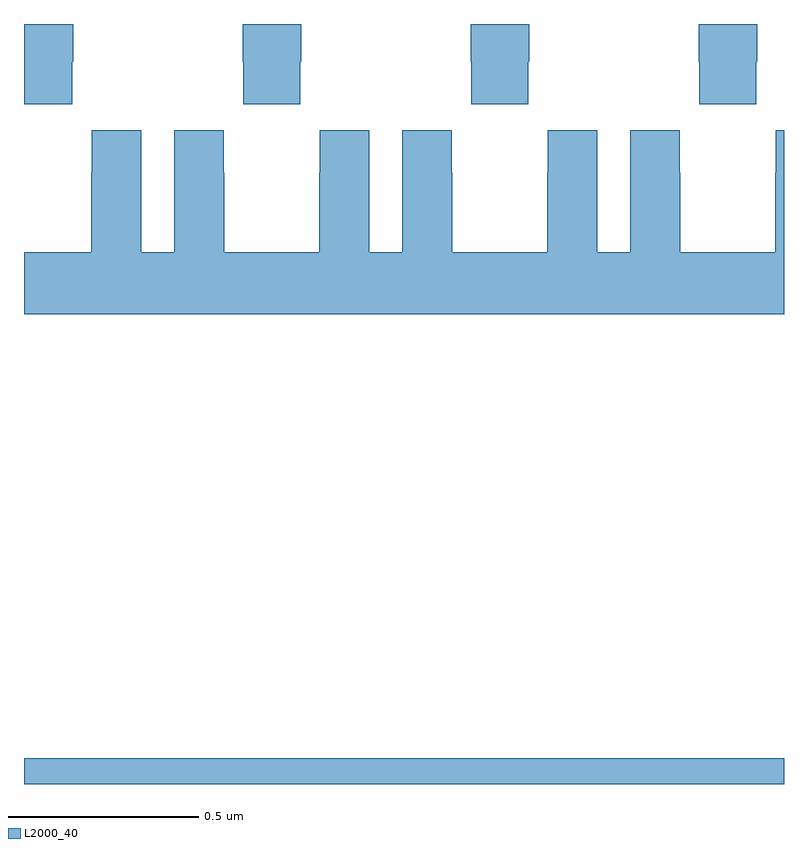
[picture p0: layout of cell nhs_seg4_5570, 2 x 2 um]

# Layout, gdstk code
import gdstk
lib = gdstk.Library(unit=1e-6, precision=1e-09)
def R(c, l, rs):  # rectangles x0, y0, x1, y1
    for r in rs: c.add(gdstk.rectangle(r[:2], r[2:], *l))
def P(c, l, *ps):  # polygons
    for p in ps: c.add(gdstk.Polygon(p, *l))
L2000_40 = (2000, 40)

nhs_seg4_5570 = lib.new_cell('nhs_seg4_5570')
R(nhs_seg4_5570, L2000_40, [(179,812.9,181,812.968)])
P(nhs_seg4_5570, L2000_40, [(179.127,814.801),(179.13,814.801),(179.13,814.9),(179,814.9),(179,814.689),(179.127,814.689)],
  [(179.727,814.801),(179.73,814.801),(179.73,814.9),(179.575,814.9),(179.575,814.801),(179.577,814.801),(179.577,814.689),(179.727,814.689)],
  [(180.327,814.801),(180.33,814.801),(180.33,814.9),(180.175,814.9),(180.175,814.801),(180.177,814.801),(180.177,814.689),(180.327,814.689)],
  [(180.927,814.801),(180.93,814.801),(180.93,814.9),(180.775,814.9),(180.775,814.801),(180.777,814.801),(180.777,814.689),(180.927,814.689)],
  [(181,814.621),(180.978,814.621),(180.978,814.508),(180.977,814.508),(180.977,814.3),(180.727,814.3),(180.727,814.508),(180.726,814.508),(180.726,814.621),(180.596,814.621),(180.596,814.3),(180.508,814.3),(180.508,814.621),(180.378,814.621),(180.378,814.508),(180.377,814.508),(180.377,814.3),(180.127,814.3),(180.127,814.508),(180.126,814.508),(180.126,814.621),(179.996,814.621),(179.996,814.3),(179.908,814.3),(179.908,814.621),(179.778,814.621),(179.778,814.508),(179.777,814.508),(179.777,814.3),(179.527,814.3),(179.527,814.508),(179.526,814.508),(179.526,814.621),(179.396,814.621),(179.396,814.3),(179.308,814.3),(179.308,814.621),(179.178,814.621),(179.178,814.508),(179.177,814.508),(179.177,814.3),(179,814.3),(179,814.136),(181,814.136)])

lib.write_gds('nhs_seg4_5570.gds')
